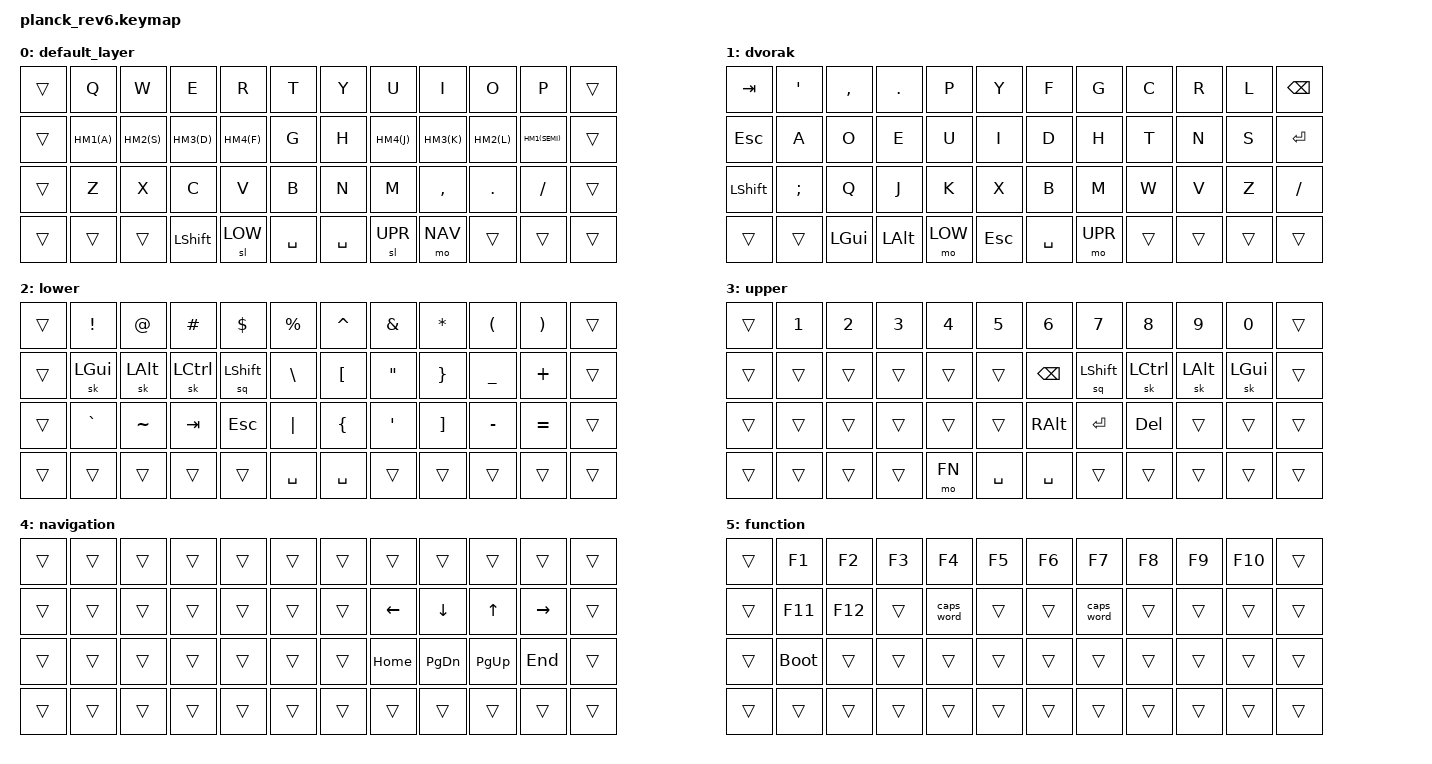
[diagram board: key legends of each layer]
#include <behaviors.dtsi>
#include <dt-bindings/zmk/keys.h>

#define QWERTY 0
#define DVORAK 1
#define LOW    2
#define UPR    3
#define NAV    4
#define FN     5

#define HM1(k) hm LGUI  k
#define HM2(k) hm LALT  k
#define HM3(k) hm LCTL  k
#define HM4(k) hm LSHFT k
// #define HM1(k) kp k
// #define HM2(k) kp k
// #define HM3(k) kp k
// #define HM4(k) kp k

// Resources:
// https://github.com/manna-harbour/qmk_firmware/tree/miryoku/users/manna-harbour_miryoku
// https://precondition.github.io/home-row-mods

&caps_word {
    continue-list = <UNDERSCORE MINUS>;
};

/ {
    combos {
        compatible = "zmk,combos";
        combo_capitalize {
            timeout-ms = <50>;
            key-positions = <16 19>;
            bindings = <&caps_word>;
        };
    };

    behaviors {
        hm: homerow_mods {
            compatible = "zmk,behavior-hold-tap";
            label = "HOMEROW_MODS";
            #binding-cells = <2>;
            tapping-term-ms = <200>;
            quick-tap-ms = <200>;
            flavor = "tap-preferred";
            bindings = <&kp>, <&kp>;
        };

        sq: sticky_key_quick_release {
          compatible = "zmk,behavior-sticky-key";
          label = "STICKY_KEY_QUICK_RELEASE";
          #binding-cells = <1>;
          bindings = <&kp>;
          release-after-ms = <1000>;
          quick-release;
        };
    };

	keymap {
		compatible = "zmk,keymap";

		default_layer {
// This is a "QWERTY" keymap, but it's really intended to be used in dvorak mode
// (with setxkbmap us -variant dvorak -option compose:ralt).
			bindings = <
&trans    &kp Q       &kp W     &kp E     &kp R     &kp T     &kp Y     &kp U     &kp I     &kp O     &kp P      &trans
&trans    &HM1(A)     &HM2(S)   &HM3(D)   &HM4(F)   &kp G     &kp H     &HM4(J)   &HM3(K)   &HM2(L)   &HM1(SEMI) &trans
&trans    &kp Z       &kp X     &kp C     &kp V     &kp B     &kp N     &kp M     &kp COMMA &kp DOT   &kp SLASH  &trans
&trans    &trans      &trans    &kp LSHFT &sl LOW   &kp SPACE &kp SPACE &sl UPR   &mo NAV   &trans    &trans     &trans
			>;
		};

		dvorak {
        // Incomplete!
			bindings = <
&kp TAB   &kp SQT     &kp COMMA &kp DOT   &kp P     &kp Y     &kp F     &kp G     &kp C     &kp R     &kp L      &kp BSPC
&kp ESC   &kp A       &kp O     &kp E     &kp U     &kp I     &kp D     &kp H     &kp T     &kp N     &kp S      &kp RET
&kp LSHFT &kp SEMI    &kp Q     &kp J     &kp K     &kp X     &kp B     &kp M     &kp W     &kp V     &kp Z      &kp SLASH
&trans    &trans      &kp LGUI  &kp LALT  &mo LOW   &kp ESC   &kp SPACE &mo UPR   &trans    &trans    &trans     &trans
			>;
		};

		lower {
			bindings = <
&trans    &kp EXCL    &kp AT    &kp HASH  &kp DLLR  &kp PRCNT &kp CARET &kp AMPS  &kp STAR  &kp LPAR  &kp RPAR   &trans
&trans    &sk LGUI    &sk LALT  &sk LCTL  &sq LSHFT &kp BSLH  &kp LBKT  &kp DQT   &kp RBRC  &kp UNDER &kp PLUS   &trans
&trans    &kp GRAVE   &kp TILDE &kp TAB   &kp ESC   &kp PIPE  &kp LBRC  &kp SQT   &kp RBKT  &kp MINUS &kp EQUAL  &trans
&trans    &trans      &trans    &trans    &trans    &kp SPACE &kp SPACE &trans    &trans    &trans    &trans     &trans
			>;
		};

		upper {
			bindings = <
&trans    &kp N1      &kp N2    &kp N3    &kp N4    &kp N5    &kp N6    &kp N7    &kp N8    &kp N9    &kp N0     &trans
&trans    &trans      &trans    &trans    &trans    &trans    &kp BSPC  &sq LSHFT &sk LCTL  &sk LALT  &sk LGUI   &trans
&trans    &trans      &trans    &trans    &trans    &trans    &kp RALT  &kp RET   &kp DEL   &trans    &trans     &trans
&trans    &trans      &trans    &trans    &mo FN    &kp SPACE &kp SPACE &trans    &trans    &trans    &trans     &trans
 			>;
 		};

		navigation {
			bindings = <
&trans    &trans      &trans    &trans    &trans    &trans    &trans    &trans    &trans    &trans    &trans     &trans
&trans    &trans      &trans    &trans    &trans    &trans    &trans    &kp LEFT  &kp DOWN  &kp UP    &kp RIGHT  &trans
&trans    &trans      &trans    &trans    &trans    &trans    &trans    &kp HOME  &kp PG_DN &kp PG_UP &kp END    &trans
&trans    &trans      &trans    &trans    &trans    &trans    &trans    &trans    &trans    &trans    &trans     &trans
 			>;
 		};

		function {
			bindings = <
&trans &kp F1      &kp F2  &kp F3 &kp F4     &kp F5 &kp F6 &kp F7     &kp F8 &kp F9 &kp F10 &trans
&trans &kp F11     &kp F12 &trans &caps_word &trans &trans &caps_word &trans &trans &trans  &trans
&trans &bootloader &trans  &trans &trans     &trans &trans &trans     &trans &trans &trans  &trans
&trans &trans      &trans  &trans &trans     &trans &trans &trans     &trans &trans &trans  &trans
			>;
		};
	};
};
